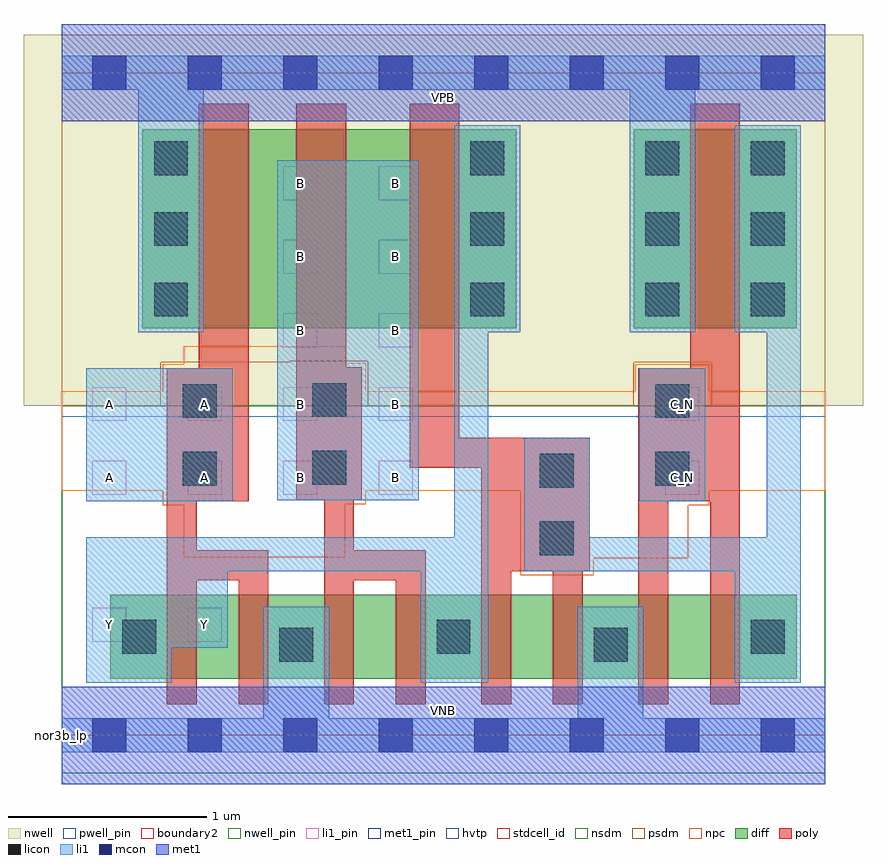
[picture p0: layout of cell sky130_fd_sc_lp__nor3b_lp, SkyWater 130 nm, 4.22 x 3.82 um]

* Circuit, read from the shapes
.subckt sky130_fd_sc_lp__nor3b_lp A B C_N VGND VNB VPB VPWR Y
XM1 n1 A Y VNB sky130_fd_pr__nfet_01v8 w=0.42 l=0.15
XM2 VGND A n1 VNB sky130_fd_pr__nfet_01v8 w=0.42 l=0.15
XM3 n2 B VGND VNB sky130_fd_pr__nfet_01v8 w=0.42 l=0.15
XM4 Y B n2 VNB sky130_fd_pr__nfet_01v8 w=0.42 l=0.15
XM5 n3 n4 Y VNB sky130_fd_pr__nfet_01v8 w=0.42 l=0.15
XM6 VGND n4 n3 VNB sky130_fd_pr__nfet_01v8 w=0.42 l=0.15
XM7 n5 C_N VGND VNB sky130_fd_pr__nfet_01v8 w=0.42 l=0.15
XM8 n4 C_N n5 VNB sky130_fd_pr__nfet_01v8 w=0.42 l=0.15
XM9 n6 A VPWR VPB sky130_fd_pr__pfet_01v8_hvt w=1 l=0.25
XM10 n7 B n6 VPB sky130_fd_pr__pfet_01v8_hvt w=1 l=0.25
XM11 Y n4 n7 VPB sky130_fd_pr__pfet_01v8_hvt w=1 l=0.25
XM12 n4 C_N VPWR VPB sky130_fd_pr__pfet_01v8_hvt w=1 l=0.25
.ends

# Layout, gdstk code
import gdstk
lib = gdstk.Library(unit=1e-6, precision=1e-09)
def R(c, l, rs):  # rectangles x0, y0, x1, y1
    for r in rs: c.add(gdstk.rectangle(r[:2], r[2:], *l))
def A(c, l, x, y, w, h, nx, ny, dx, dy):  # array of equal rectangles
    R(c, l, [(x+i*dx, y+j*dy, x+i*dx+w, y+j*dy+h) for i in range(nx) for j in range(ny)])
def P(c, l, *ps):  # polygons
    for p in ps: c.add(gdstk.Polygon(p, *l))
nwell_pin = (64, 16)
nwell = (64, 20)
diff = (65, 20)
poly = (66, 20)
licon = (66, 44)
li1_pin = (67, 16)
li1 = (67, 20)
mcon = (67, 44)
met1_pin = (68, 16)
met1 = (68, 20)
hvtp = (78, 44)
stdcell_id = (81, 4)
nsdm = (93, 44)
psdm = (94, 20)
npc = (95, 20)
pwell_pin = (122, 16)
boundary2 = (236, 0)

sky130_fd_sc_lp__nor3b_l = lib.new_cell('sky130_fd_sc_lp__nor3b_lp')
R(sky130_fd_sc_lp__nor3b_l, nwell_pin, [(0,3.085,3.84,3.33)])
R(sky130_fd_sc_lp__nor3b_l, nwell, [(-0.19,1.655,4.03,3.52)])
R(sky130_fd_sc_lp__nor3b_l, diff, [(0.245,0.285,3.695,0.705), (0.405,2.045,2.285,3.045), (2.875,2.045,3.695,3.045)])
P(sky130_fd_sc_lp__nor3b_l, poly, [(1.04,0.93),(0.68,0.93),(0.68,1.175),(0.94,1.175),(0.94,3.175),(0.69,3.175),(0.69,1.845),(0.53,1.845),(0.53,0.155),(0.68,0.155),(0.68,0.78),(0.89,0.78),(0.89,0.155),(1.04,0.155)],
  [(1.83,0.93),(1.47,0.93),(1.47,1.18),(1.51,1.18),(1.51,1.85),(1.43,1.85),(1.43,3.175),(1.18,3.175),(1.18,1.18),(1.32,1.18),(1.32,0.155),(1.47,0.155),(1.47,0.78),(1.68,0.78),(1.68,0.155),(1.83,0.155)],
  [(2.655,1.495),(2,1.495),(2,3.175),(1.75,3.175),(1.75,1.345),(2.11,1.345),(2.11,0.155),(2.26,0.155),(2.26,0.825),(2.47,0.825),(2.47,0.155),(2.62,0.155),(2.62,0.825),(2.655,0.825)],
  [(3.41,3.175),(3.16,3.175),(3.16,1.845),(2.9,1.845),(2.9,0.155),(3.05,0.155),(3.05,1.175),(3.26,1.175),(3.26,0.155),(3.41,0.155)])
A(sky130_fd_sc_lp__nor3b_l, licon, 0.305, 0.41, 0.17, 0.17, 3, 1, 1.58, 0)
A(sky130_fd_sc_lp__nor3b_l, licon, 0.465, 2.105, 0.17, 0.17, 1, 3, 0, 0.355)
A(sky130_fd_sc_lp__nor3b_l, licon, 2.055, 2.105, 0.17, 0.17, 1, 3, 0, 0.355)
A(sky130_fd_sc_lp__nor3b_l, licon, 2.935, 2.105, 0.17, 0.17, 1, 3, 0, 0.355)
A(sky130_fd_sc_lp__nor3b_l, licon, 3.465, 2.105, 0.17, 0.17, 1, 3, 0, 0.355)
R(sky130_fd_sc_lp__nor3b_l, licon, [(1.095,0.37,1.265,0.54), (2.675,0.37,2.845,0.54), (2.405,0.905,2.575,1.075), (2.405,1.245,2.575,1.415), (0.61,1.255,0.78,1.425), (2.985,1.255,3.155,1.425), (1.26,1.26,1.43,1.43), (0.61,1.595,0.78,1.765), (2.985,1.595,3.155,1.765), (1.26,1.6,1.43,1.77)])
A(sky130_fd_sc_lp__nor3b_l, li1_pin, 0.155, 1.21, 0.17, 0.17, 4, 2, 0.48, 0.37)
A(sky130_fd_sc_lp__nor3b_l, li1_pin, 1.115, 1.95, 0.17, 0.17, 1, 3, 0, 0.37)
A(sky130_fd_sc_lp__nor3b_l, li1_pin, 1.595, 1.95, 0.17, 0.17, 1, 3, 0, 0.37)
R(sky130_fd_sc_lp__nor3b_l, li1_pin, [(0.155,0.47,0.325,0.64), (0.635,0.47,0.805,0.64), (3.035,1.21,3.205,1.38), (3.035,1.58,3.205,1.75)])
R(sky130_fd_sc_lp__nor3b_l, li1, [(0.125,1.175,0.86,1.845), (2.905,1.175,3.235,1.845), (1.085,1.18,1.795,2.89)])
P(sky130_fd_sc_lp__nor3b_l, li1, [(2.855,2.025),(2.855,3.245),(0.715,3.245),(0.715,2.025),(0.385,2.025),(0.385,3.245),(0,3.245),(0,3.415),(3.84,3.415),(3.84,3.245),(3.185,3.245),(3.185,2.025)],
  [(2.595,0.085),(2.595,0.645),(2.925,0.645),(2.925,0.085),(3.84,0.085),(3.84,-0.085),(0,-0.085),(0,0.085),(1.015,0.085),(1.015,0.645),(1.345,0.645),(1.345,0.085)],
  [(2.655,0.995),(3.545,0.995),(3.545,2.025),(3.385,2.025),(3.385,3.065),(3.715,3.065),(3.715,0.265),(3.385,0.265),(3.385,0.825),(2.325,0.825),(2.325,1.495),(2.655,1.495)],
  [(0.125,0.995),(1.975,0.995),(1.975,3.065),(2.305,3.065),(2.305,2.025),(2.145,2.025),(2.145,0.265),(1.805,0.265),(1.805,0.825),(0.835,0.825),(0.835,0.44),(0.555,0.44),(0.555,0.265),(0.125,0.265)])
A(sky130_fd_sc_lp__nor3b_l, mcon, 0.155, -0.085, 0.17, 0.17, 8, 2, 0.48, 3.33)
R(sky130_fd_sc_lp__nor3b_l, met1_pin, [(0,0,3.84,0.245), (0,3.085,3.84,3.33)])
R(sky130_fd_sc_lp__nor3b_l, met1, [(0,-0.245,3.84,0.245), (0,3.085,3.84,3.575)])
R(sky130_fd_sc_lp__nor3b_l, hvtp, [(0,1.6,3.84,3.33)])
R(sky130_fd_sc_lp__nor3b_l, stdcell_id, [(0,0,3.84,3.33)])
R(sky130_fd_sc_lp__nor3b_l, nsdm, [(0,-0.19,3.84,1.655)])
P(sky130_fd_sc_lp__nor3b_l, psdm, [(3.84,3.52),(0,3.52),(0,1.655),(0.5,1.655),(0.5,1.875),(1.15,1.875),(1.15,1.88),(1.54,1.88),(1.54,1.655),(2.875,1.655),(2.875,1.875),(3.265,1.875),(3.265,1.655),(3.84,1.655)])
P(sky130_fd_sc_lp__nor3b_l, npc, [(3.84,1.73),(3.255,1.73),(3.255,1.865),(2.885,1.865),(2.885,1.73),(1.53,1.73),(1.53,1.87),(1.425,1.87),(1.425,1.955),(0.615,1.955),(0.615,1.865),(0.51,1.865),(0.51,1.73),(0,1.73),(0,1.23),(0.51,1.23),(0.51,1.155),(0.615,1.155),(0.615,0.895),(1.425,0.895),(1.425,1.16),(1.53,1.16),(1.53,1.23),(2.305,1.23),(2.305,0.805),(2.675,0.805),(2.675,0.89),(3.15,0.89),(3.15,1.155),(3.255,1.155),(3.255,1.23),(3.84,1.23)])
R(sky130_fd_sc_lp__nor3b_l, pwell_pin, [(0,0,3.84,0.245)])
R(sky130_fd_sc_lp__nor3b_l, boundary2, [(0,0,3.84,3.33)])
sky130_fd_sc_lp__nor3b_l.add(gdstk.Label('VNB', (1.92,0.123), layer=64, texttype=59))
sky130_fd_sc_lp__nor3b_l.add(gdstk.Label('VPB', (1.92,3.208), layer=64, texttype=5))
sky130_fd_sc_lp__nor3b_l.add(gdstk.Label('nor3b_lp', (0,0), layer=83, texttype=44))
sky130_fd_sc_lp__nor3b_l.add(gdstk.Label('VPWR', (1.92,3.208), layer=68, texttype=5))
sky130_fd_sc_lp__nor3b_l.add(gdstk.Label('VGND', (1.92,0.123), layer=68, texttype=5))
sky130_fd_sc_lp__nor3b_l.add(gdstk.Label('C_N', (3.12,1.295), layer=67, texttype=5))
sky130_fd_sc_lp__nor3b_l.add(gdstk.Label('C_N', (3.12,1.665), layer=67, texttype=5))
sky130_fd_sc_lp__nor3b_l.add(gdstk.Label('B', (1.2,1.295), layer=67, texttype=5))
sky130_fd_sc_lp__nor3b_l.add(gdstk.Label('B', (1.2,1.665), layer=67, texttype=5))
sky130_fd_sc_lp__nor3b_l.add(gdstk.Label('B', (1.2,2.035), layer=67, texttype=5))
sky130_fd_sc_lp__nor3b_l.add(gdstk.Label('B', (1.2,2.405), layer=67, texttype=5))
sky130_fd_sc_lp__nor3b_l.add(gdstk.Label('B', (1.2,2.775), layer=67, texttype=5))
sky130_fd_sc_lp__nor3b_l.add(gdstk.Label('B', (1.68,1.295), layer=67, texttype=5))
sky130_fd_sc_lp__nor3b_l.add(gdstk.Label('B', (1.68,1.665), layer=67, texttype=5))
sky130_fd_sc_lp__nor3b_l.add(gdstk.Label('B', (1.68,2.035), layer=67, texttype=5))
sky130_fd_sc_lp__nor3b_l.add(gdstk.Label('B', (1.68,2.405), layer=67, texttype=5))
sky130_fd_sc_lp__nor3b_l.add(gdstk.Label('B', (1.68,2.775), layer=67, texttype=5))
sky130_fd_sc_lp__nor3b_l.add(gdstk.Label('A', (0.24,1.295), layer=67, texttype=5))
sky130_fd_sc_lp__nor3b_l.add(gdstk.Label('A', (0.24,1.665), layer=67, texttype=5))
sky130_fd_sc_lp__nor3b_l.add(gdstk.Label('A', (0.72,1.295), layer=67, texttype=5))
sky130_fd_sc_lp__nor3b_l.add(gdstk.Label('A', (0.72,1.665), layer=67, texttype=5))
sky130_fd_sc_lp__nor3b_l.add(gdstk.Label('Y', (0.24,0.555), layer=67, texttype=5))
sky130_fd_sc_lp__nor3b_l.add(gdstk.Label('Y', (0.72,0.555), layer=67, texttype=5))

lib.write_gds('sky130_fd_sc_lp__nor3b_lp.gds')
